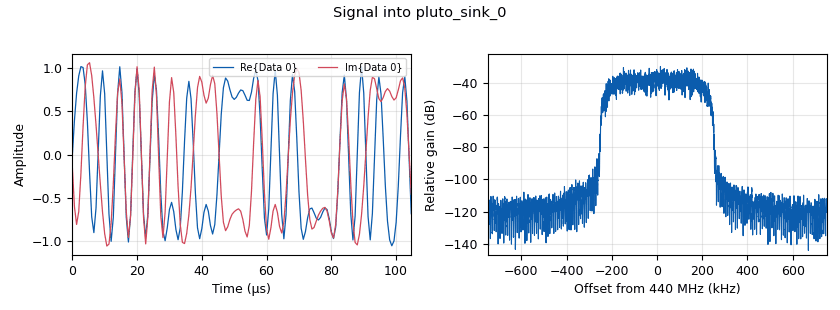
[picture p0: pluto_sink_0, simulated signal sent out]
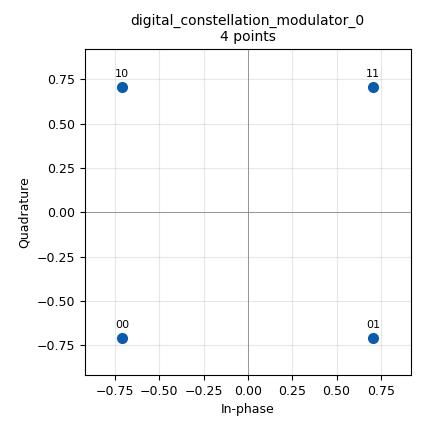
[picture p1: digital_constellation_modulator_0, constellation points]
<?xml version='1.0' encoding='utf-8'?>
<?grc format='1' created='3.7.9'?>
<flow_graph>
<block>
<key>options</key>
<param><key>id</key><value>top_block</value></param>
<param><key>category</key><value>Custom</value></param>
<param><key>generate_options</key><value>qt_gui</value></param>
</block>
<block>
<key>variable</key>
<param><key>id</key><value>arity</value></param>
<param><key>value</key><value>4</value></param>
</block>
<block>
<key>variable_qtgui_range</key>
<param><key>id</key><value>atten</value></param>
<param><key>value</key><value>10</value></param>
<param><key>orient</key><value>Qt.Horizontal</value></param>
<param><key>start</key><value>0</value></param>
<param><key>step</key><value>1</value></param>
<param><key>stop</key><value>30</value></param>
</block>
<block>
<key>variable_qtgui_range</key>
<param><key>id</key><value>bw</value></param>
<param><key>value</key><value>1500000</value></param>
<param><key>orient</key><value>Qt.Horizontal</value></param>
<param><key>start</key><value>500000</value></param>
<param><key>step</key><value>100000</value></param>
<param><key>stop</key><value>5000000</value></param>
<param><key>rangeType</key><value>int</value></param>
</block>
<block>
<key>variable_constellation</key>
<param><key>id</key><value>constel</value></param>
<param><key>const_points</key><value>digital.psk_4()[0]</value></param>
<param><key>dims</key><value>1</value></param>
<param><key>rot_sym</key><value>4</value></param>
<param><key>soft_dec_lut</key><value>digital.soft_dec_table_generator(digital.sd_psk_4, 8, 1)</value></param>
<param><key>precision</key><value>8</value></param>
<param><key>sym_map</key><value>digital.psk_4()[1]</value></param>
</block>
<block>
<key>variable_constellation</key>
<param><key>id</key><value>constel_0</value></param>
<param><key>const_points</key><value>digital.qam_16()[0]</value></param>
<param><key>dims</key><value>1</value></param>
<param><key>_enabled</key><value>False</value></param>
<param><key>rot_sym</key><value>4</value></param>
<param><key>soft_dec_lut</key><value>digital.soft_dec_table_generator(digital.sd_qam_16, 8, 1)</value></param>
<param><key>precision</key><value>8</value></param>
<param><key>sym_map</key><value>digital.qam_16()[1]</value></param>
</block>
<block>
<key>variable_constellation</key>
<param><key>id</key><value>constel_1</value></param>
<param><key>const_points</key><value>digital.psk_2()[0]</value></param>
<param><key>dims</key><value>1</value></param>
<param><key>_enabled</key><value>False</value></param>
<param><key>rot_sym</key><value>4</value></param>
<param><key>soft_dec_lut</key><value>digital.soft_dec_table_generator(digital.sd_psk_2, 8, 1)</value></param>
<param><key>precision</key><value>8</value></param>
<param><key>sym_map</key><value>digital.psk_2()[1]</value></param>
</block>
<block>
<key>variable_constellation</key>
<param><key>id</key><value>constel_2</value></param>
<param><key>const_points</key><value>digital.psk_4()[0]</value></param>
<param><key>dims</key><value>1</value></param>
<param><key>_enabled</key><value>False</value></param>
<param><key>rot_sym</key><value>4</value></param>
<param><key>soft_dec_lut</key><value>'auto'</value></param>
<param><key>precision</key><value>8</value></param>
<param><key>sym_map</key><value>digital.psk_4()[1]</value></param>
</block>
<block>
<key>variable_constellation</key>
<param><key>id</key><value>constel_3</value></param>
<param><key>const_points</key><value>digital.psk_2()[0]</value></param>
<param><key>dims</key><value>1</value></param>
<param><key>_enabled</key><value>False</value></param>
<param><key>rot_sym</key><value>4</value></param>
<param><key>soft_dec_lut</key><value>'auto'</value></param>
<param><key>precision</key><value>8</value></param>
<param><key>sym_map</key><value>digital.psk_2()[1]</value></param>
</block>
<block>
<key>variable_constellation</key>
<param><key>id</key><value>constel_4</value></param>
<param><key>const_points</key><value>digital.qam_16()[0]</value></param>
<param><key>dims</key><value>1</value></param>
<param><key>rot_sym</key><value>4</value></param>
<param><key>soft_dec_lut</key><value>'auto'</value></param>
<param><key>precision</key><value>8</value></param>
<param><key>sym_map</key><value>digital.qam_16()[1]</value></param>
</block>
<block>
<key>variable_qtgui_range</key>
<param><key>id</key><value>freq</value></param>
<param><key>value</key><value>440000000</value></param>
<param><key>orient</key><value>Qt.Horizontal</value></param>
<param><key>start</key><value>400000000</value></param>
<param><key>step</key><value>1000000</value></param>
<param><key>stop</key><value>900000000</value></param>
<param><key>rangeType</key><value>int</value></param>
</block>
<block>
<key>variable_qtgui_range</key>
<param><key>id</key><value>samp_rate</value></param>
<param><key>value</key><value>1500000</value></param>
<param><key>orient</key><value>Qt.Horizontal</value></param>
<param><key>start</key><value>100000</value></param>
<param><key>step</key><value>500000</value></param>
<param><key>stop</key><value>5000000</value></param>
<param><key>rangeType</key><value>int</value></param>
</block>
<block>
<key>variable</key>
<param><key>id</key><value>sps</value></param>
<param><key>value</key><value>4</value></param>
</block>
<block>
<key>analog_random_source_x</key>
<param><key>id</key><value>analog_random_source_x_0</value></param>
<param><key>max</key><value>256</value></param>
<param><key>min</key><value>0</value></param>
<param><key>num_samps</key><value>200</value></param>
<param><key>type</key><value>byte</value></param>
<param><key>repeat</key><value>True</value></param>
</block>
<block>
<key>blocks_throttle</key>
<param><key>id</key><value>blocks_throttle_0</value></param>
<param><key>samples_per_second</key><value>samp_rate</value></param>
<param><key>type</key><value>byte</value></param>
</block>
<block>
<key>digital_constellation_modulator</key>
<param><key>id</key><value>digital_constellation_modulator_0</value></param>
<param><key>constellation</key><value>constel</value></param>
<param><key>differential</key><value>False</value></param>
<param><key>excess_bw</key><value>0.35</value></param>
<param><key>samples_per_symbol</key><value>sps</value></param>
</block>
<block>
<key>import</key>
<param><key>id</key><value>import_cmath</value></param>
<param><key>import</key><value>import cmath</value></param>
</block>
<block>
<key>import</key>
<param><key>id</key><value>import_math</value></param>
<param><key>import</key><value>import math</value></param>
</block>
<block>
<key>note</key>
<param><key>id</key><value>note_auto</value></param>
<param><key>note</key><value>auto-build LUT</value></param>
</block>
<block>
<key>note</key>
<param><key>id</key><value>note_py</value></param>
<param><key>note</key><value>Python-generated LUT</value></param>
</block>
<block>
<key>osmosdr_sink</key>
<param><key>id</key><value>osmosdr_sink_0</value></param>
<param><key>bb_gain0</key><value>20</value></param>
<param><key>bw0</key><value>bw</value></param>
<param><key>freq0</key><value>freq</value></param>
<param><key>if_gain0</key><value>20</value></param>
<param><key>gain0</key><value>10</value></param>
<param><key>args</key><value></value></param>
<param><key>_enabled</key><value>0</value></param>
<param><key>type</key><value>fc32</value></param>
<param><key>sample_rate</key><value>samp_rate</value></param>
<param><key>sync</key><value></value></param>
</block>
<block>
<key>pluto_sink</key>
<param><key>id</key><value>pluto_sink_0</value></param>
<param><key>attenuation</key><value>10.0</value></param>
<param><key>buffer_size</key><value>0x8000</value></param>
<param><key>cyclic</key><value>False</value></param>
<param><key>auto_filter</key><value>True</value></param>
<param><key>filter</key><value></value></param>
<param><key>uri</key><value>ip:pluto.local</value></param>
<param><key>frequency</key><value>freq</value></param>
<param><key>bandwidth</key><value>bw</value></param>
<param><key>samplerate</key><value>samp_rate</value></param>
</block>
<connection><source_block_id>analog_random_source_x_0</source_block_id><sink_block_id>blocks_throttle_0</sink_block_id><source_key>0</source_key><sink_key>0</sink_key></connection>
<connection><source_block_id>blocks_throttle_0</source_block_id><sink_block_id>digital_constellation_modulator_0</sink_block_id><source_key>0</source_key><sink_key>0</sink_key></connection>
<connection><source_block_id>digital_constellation_modulator_0</source_block_id><sink_block_id>osmosdr_sink_0</sink_block_id><source_key>0</source_key><sink_key>0</sink_key></connection>
<connection><source_block_id>digital_constellation_modulator_0</source_block_id><sink_block_id>pluto_sink_0</sink_block_id><source_key>0</source_key><sink_key>0</sink_key></connection>
</flow_graph>
